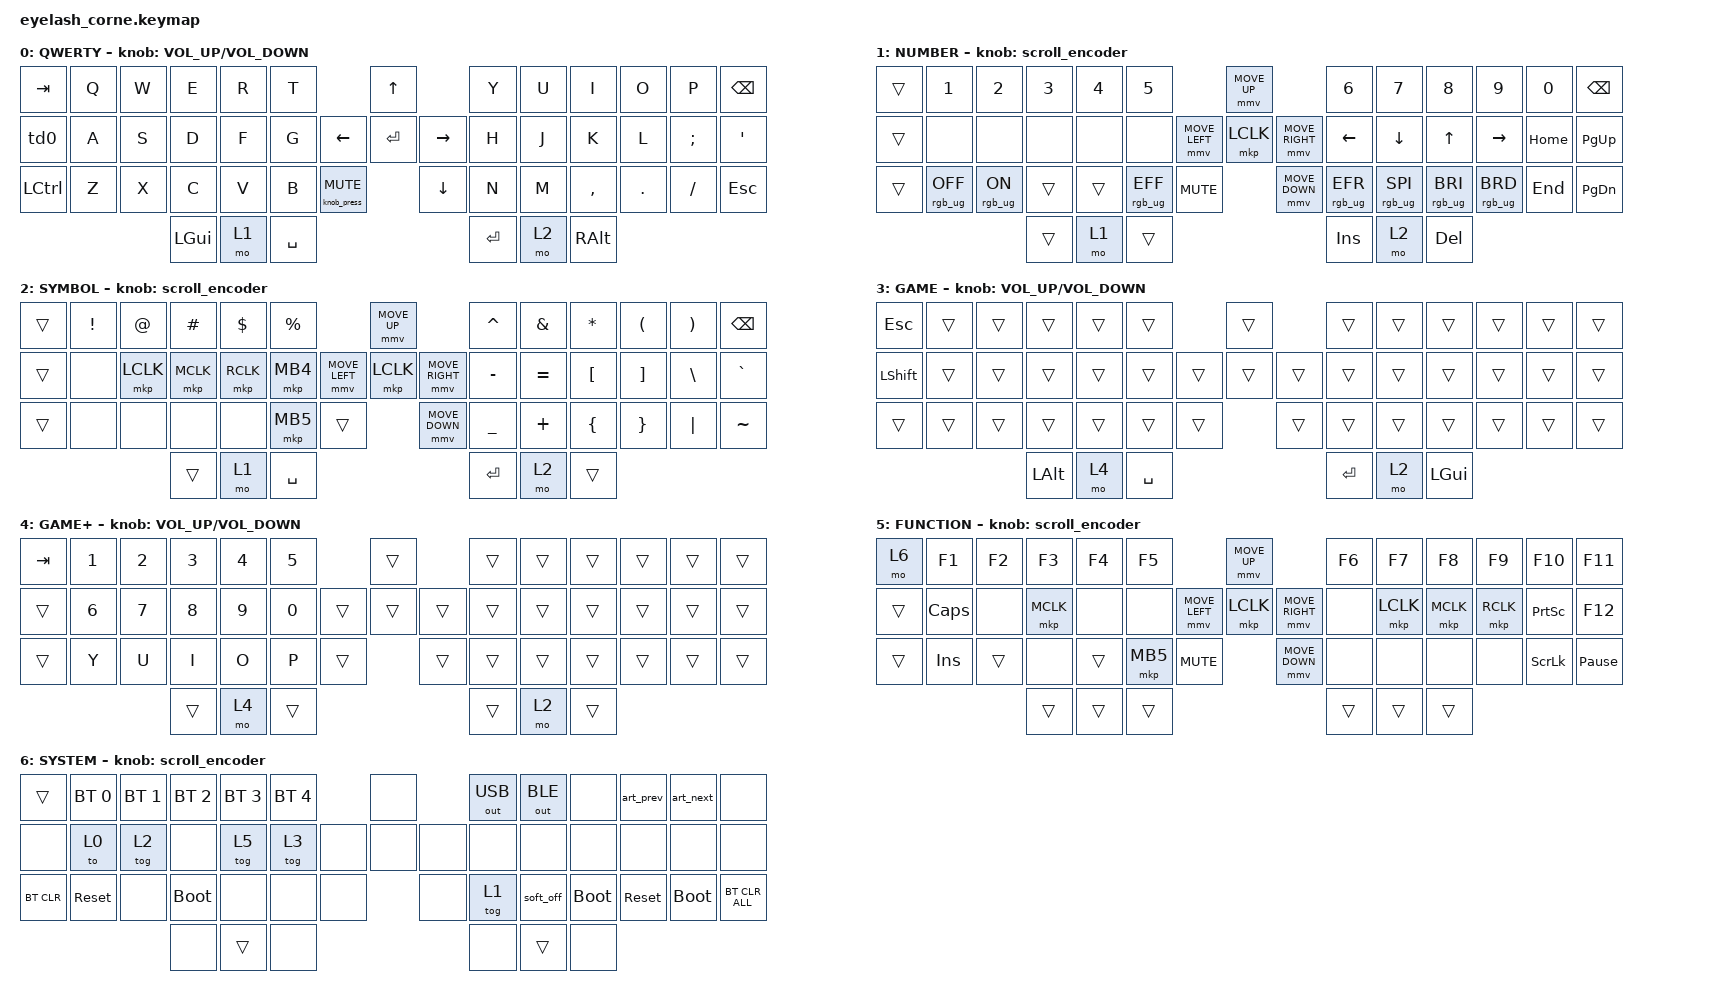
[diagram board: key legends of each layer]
#define ZMK_POINTING_DEFAULT_MOVE_VAL 1200  // 600
#define ZMK_POINTING_DEFAULT_SCRL_VAL 25   // 10

#include <input/processors.dtsi>
#include <zephyr/dt-bindings/input/input-event-codes.h>
#include <behaviors.dtsi>
#include <dt-bindings/zmk/bt.h>
#include <dt-bindings/zmk/keys.h>
#include <dt-bindings/zmk/outputs.h>
#include <dt-bindings/zmk/pointing.h>
#include <dt-bindings/zmk/rgb.h>

&mmv_input_listener { input-processors = <&zip_xy_scaler 2 1>; };

&msc_input_listener { input-processors = <&zip_scroll_scaler 2 1>; };

&msc {
    acceleration-exponent = <1>;      // 0
    time-to-max-speed-ms = <100>;       // 300
    delay-ms = <0>;                   // 0
};

&mmv {
    time-to-max-speed-ms = <500>;
    acceleration-exponent = <1>;
    trigger-period-ms = <16>;
};

&soft_off { hold-time-ms = <2000>; }; // SYSTEM + M; the vendor Q+S+Z combo is gone (hit it while gaming)

/ {
    behaviors {
        // Step the right screen's art (#60): to the app while it's subscribed, else on the board.
        art_next: art_next {
            compatible = "foxglove,behavior-art-step";
            #binding-cells = <0>;
            display-name = "Next art";
        };
        art_prev: art_prev {
            compatible = "foxglove,behavior-art-step";
            #binding-cells = <0>;
            display-name = "Previous art";
            previous;
        };
        // The knob (#719): the encoder's turns and click. Without Foxglove (or with master as its
        // target) they are the volume keys and mute, as before; Foxglove may hold it to point the
        // knob at an app (click: next app, double click: mute, hold: back to master).
        knob: knob {
            compatible = "foxglove,behavior-knob";
            #sensor-binding-cells = <2>;
            bindings = <&kp>, <&kp>;
            display-name = "Knob";
        };
        knob_press: knob_press {
            compatible = "foxglove,behavior-knob-press";
            #binding-cells = <1>;
            bindings = <&kp>;
            display-name = "Knob click";
        };
        td0: td0 {
            compatible = "zmk,behavior-tap-dance";
            display-name = "Shift/Caps Lock Tap Dance";
            #binding-cells = <0>;
            bindings = <&kp LEFT_SHIFT>, <&kp CAPS>;
        };
    };

    rgb_encoder: rgb_encoder {
        compatible = "zmk,behavior-sensor-rotate";
        #sensor-binding-cells = <0>;
        bindings = <&rgb_ug RGB_BRI>, <&rgb_ug RGB_BRD>;
    };

    scroll_encoder: scroll_encoder {
        compatible = "zmk,behavior-sensor-rotate";
        #sensor-binding-cells = <0>;
        bindings = <&msc SCRL_DOWN>, <&msc SCRL_UP>;

        tap-ms = <100>;
    };

    combos {
        compatible = "zmk,combos";

        // Backspace + Esc (right pinky column, top + bottom) toggles the Game layer
        game_toggle {
            bindings = <&tog 3>;
            key-positions = <12 41>;
        };
    };

    conditional_layers {
        compatible = "zmk,conditional-layers";
        function_from_typing { if-layers = <1 2>; then-layer = <5>; };
        function_from_game { if-layers = <4 2>; then-layer = <5>; };
    };

    keymap {
        compatible = "zmk,keymap";

        default_layer {
            display-name = "QWERTY";
            bindings = <
&kp TAB    &kp Q  &kp W  &kp E     &kp R  &kp T                               &kp UP                &kp Y        &kp U  &kp I      &kp O    &kp P     &kp BSPC
&td0       &kp A  &kp S  &kp D     &kp F  &kp G                     &kp LEFT  &kp ENTER  &kp RIGHT  &kp H        &kp J  &kp K      &kp L    &kp SEMI  &kp SQT
&kp LCTRL  &kp Z  &kp X  &kp C     &kp V  &kp B        &knob_press C_MUTE     &kp DOWN              &kp N        &kp M  &kp COMMA  &kp DOT  &kp FSLH  &kp ESC
                         &kp LGUI  &mo 1  &kp SPACE                                                 &kp ENTER    &mo 2  &kp RALT
            >;

            sensor-bindings = <&knob C_VOLUME_UP C_VOLUME_DOWN>;
        };

        // NUMBER: hold the middle left thumb. Bluetooth keys moved to SYSTEM;
        // their old home-row positions are disabled.
        lower_layer {
            display-name = "NUMBER";
            bindings = <
&trans  &kp N1           &kp N2          &kp N3        &kp N4        &kp N5                                         &mmv MOVE_UP                     &kp N6           &kp N7           &kp N8           &kp N9           &kp N0    &kp BSPC
&trans  &none   &none    &none  &none  &none                   &mmv MOVE_LEFT  &mkp LCLK       &mmv MOVE_RIGHT  &kp LEFT         &kp DOWN         &kp UP           &kp RIGHT        &kp HOME  &kp PG_UP
&trans  &rgb_ug RGB_OFF  &rgb_ug RGB_ON  &trans        &trans        &rgb_ug RGB_EFF  &kp C_MUTE                    &mmv MOVE_DOWN                   &rgb_ug RGB_EFR  &rgb_ug RGB_SPI  &rgb_ug RGB_BRI  &rgb_ug RGB_BRD  &kp END   &kp PG_DN
                                         &trans        &mo 1         &trans                                                                          &kp INS          &mo 2            &kp DEL
            >;

            sensor-bindings = <&scroll_encoder>;
        };

        // SYMBOL: hold the middle right thumb. Bluetooth clear and output keys
        // moved to SYSTEM; their old positions are disabled.
        raise_layer {
            display-name = "SYMBOL";
            bindings = <
&trans  &kp EXCL      &kp AT        &kp HASH   &kp DLLR   &kp PRCNT                            &mmv MOVE_UP                     &kp CARET  &kp AMPS   &kp ASTRK  &kp LPAR  &kp RPAR  &kp BSPC
&trans  &none    &mkp LCLK     &mkp MCLK  &mkp RCLK  &mkp MB4             &mmv MOVE_LEFT  &mkp LCLK       &mmv MOVE_RIGHT  &kp MINUS  &kp EQUAL  &kp LBKT   &kp RBKT  &kp BSLH  &kp GRAVE
&trans  &none  &none  &none      &none      &mkp MB5   &trans                    &mmv MOVE_DOWN                   &kp UNDER  &kp PLUS   &kp LBRC   &kp RBRC  &kp PIPE  &kp TILDE
                                    &trans     &mo 1      &kp SPACE                                                             &kp RET    &mo 2      &trans
            >;

            sensor-bindings = <&scroll_encoder>;
        };

        // Game layer (toggle: SYSTEM + G, or Backspace + Esc). Letters stay where they are;
        // only the thumbs and Shift change so nothing fires late or by accident. The right
        // outer thumb (right Alt on QWERTY) is the Windows key here, and Tab moves to GAME+
        // (Esc takes its place) so Shift below it can't catch it by accident.
        game_layer {
            display-name = "GAME";
            bindings = <
&kp ESC     &trans  &trans  &trans    &trans  &trans                            &trans                     &trans  &trans  &trans  &trans  &trans  &trans
&kp LSHIFT  &trans  &trans  &trans    &trans  &trans                    &trans  &trans  &trans             &trans  &trans  &trans  &trans  &trans  &trans
&trans      &trans  &trans  &trans    &trans  &trans  &trans                    &trans                     &trans  &trans  &trans  &trans  &trans  &trans
                            &kp LALT  &mo 4   &kp SPACE                                                    &kp ENTER  &mo 2   &kp LGUI
            >;

            sensor-bindings = <&knob C_VOLUME_UP C_VOLUME_DOWN>;
        };

        // Hold the middle left thumb while in GAME: numbers where they'd sit on a
        // regular keyboard, plus Tab and the Y-P row you can't reach off the mouse.
        game_extras_layer {
            display-name = "GAME+";
            bindings = <
&kp TAB  &kp N1  &kp N2  &kp N3  &kp N4  &kp N5                            &trans                     &trans  &trans  &trans  &trans  &trans  &trans
&trans   &kp N6  &kp N7  &kp N8  &kp N9  &kp N0                    &trans  &trans  &trans             &trans  &trans  &trans  &trans  &trans  &trans
&trans   &kp Y   &kp U   &kp I   &kp O   &kp P   &trans                    &trans                     &trans  &trans  &trans  &trans  &trans  &trans
                         &trans  &mo 4   &trans                                                       &trans  &mo 2   &trans
            >;

            sensor-bindings = <&knob C_VOLUME_UP C_VOLUME_DOWN>;
        };

        // FUNCTION: hold BOTH middle thumbs (NUMBER + SYMBOL, or GAME+ + SYMBOL).
        // Function keys, Caps on A, Insert on Z, media and mouse controls stay safe.
        // Hold Tab as well for SYSTEM; all layer locks and power keys moved there.
        function_layer {
            display-name = "FUNCTION";
            bindings = <
&mo 6   &kp F1    &kp F2  &kp F3     &kp F4  &kp F5                          &mmv MOVE_UP                     &kp F6  &kp F7  &kp F8  &kp F9  &kp F10          &kp F11
&trans  &kp CAPS  &none   &mkp MCLK  &none   &none            &mmv MOVE_LEFT  &mkp LCLK       &mmv MOVE_RIGHT  &none   &mkp LCLK  &mkp MCLK  &mkp RCLK  &kp PRINTSCREEN  &kp F12
&trans  &kp INS   &trans  &none      &trans  &mkp MB5  &kp C_MUTE             &mmv MOVE_DOWN                   &none   &none   &none   &none   &kp SCROLLLOCK   &kp PAUSE_BREAK
                            &trans  &trans  &trans                                                       &trans  &trans  &trans
            >;

            sensor-bindings = <&scroll_encoder>;
        };

        // SYSTEM: keep FUNCTION held, then hold Tab. Tab stays transparent.
        // Q-T select Bluetooth 0-4; Y/U choose USB/BLE. Bottom far corners clear
        // the current/all Bluetooth profiles. A=QWERTY, S=SYMBOL, F=FUNCTION,
        // G=GAME, N=NUMBER. Tap a toggle again to turn it off.
        // Bootloader on C (left), comma and slash (right); reset on Z (left), dot (right).
        // M (hold 2 s) powers off both halves; the reset buttons wake them.
        // O / P step the right screen's art back / on (#60).
        system_layer {
            display-name = "SYSTEM";
            bindings = <
&trans          &bt BT_SEL 0  &bt BT_SEL 1  &bt BT_SEL 2  &bt BT_SEL 3  &bt BT_SEL 4          &none         &out OUT_USB  &out OUT_BLE  &none        &art_prev   &art_next  &none
&none           &to 0         &tog 2        &none         &tog 5        &tog 3         &none  &none  &none  &none         &none         &none        &none       &none  &none
&bt BT_CLR      &sys_reset    &none         &bootloader   &none         &none   &none          &none         &tog 1        &soft_off     &bootloader  &sys_reset  &bootloader  &bt BT_CLR_ALL
                                            &none         &trans        &none                             &none         &trans        &none
            >;

            sensor-bindings = <&scroll_encoder>;
        };

        // Spare layers for ZMK Studio's "Add layer" (#580): Studio can only enable layers the
        // keymap reserves. They come after SYSTEM so indexes 0-6 never move; a regular
        // (non-Studio) build, like the right half's, leaves them out.
        extra_1 {
            status = "reserved";
        };

        extra_2 {
            status = "reserved";
        };

        extra_3 {
            status = "reserved";
        };
    };
};
